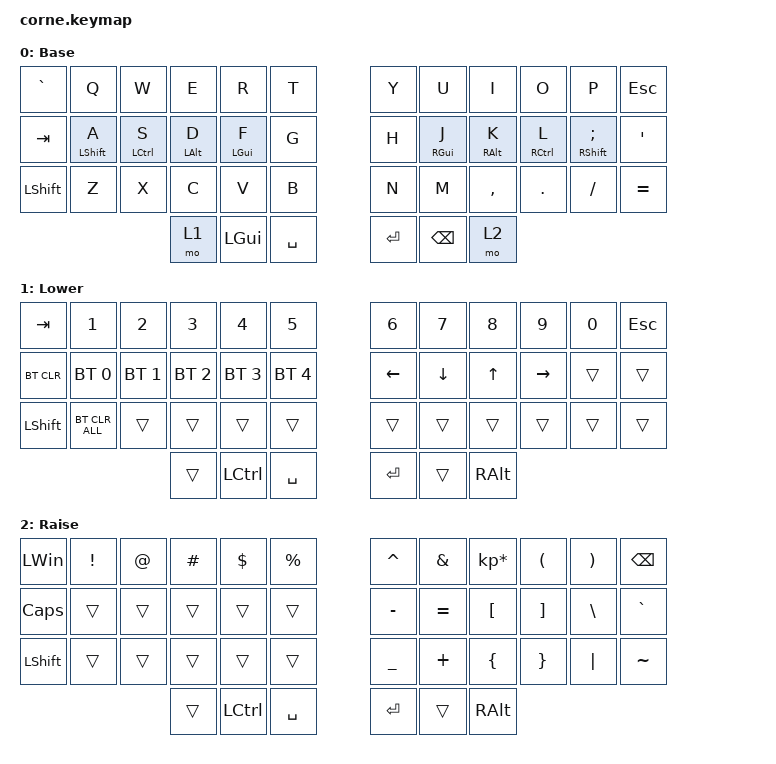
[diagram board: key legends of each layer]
/*
 * Copyright (c) 2020 The ZMK Contributors
 *
 * SPDX-License-Identifier: MIT
 */

#include <behaviors.dtsi>
#include <dt-bindings/zmk/bt.h>
#include <dt-bindings/zmk/keys.h>

/ {
    keymap {
        compatible = "zmk,keymap";

        default_layer {
            // -----------------------------------------------------------------------------------------
            // |  TAB |  Q  |  W  |  E  |  R  |  T  |   |  Y  |  U   |  I  |  O  |  P  | BKSP |
            // | CTRL |  A  |  S  |  D  |  F  |  G  |   |  H  |  J   |  K  |  L  |  ;  |  '   |
            // | SHFT |  Z  |  X  |  C  |  V  |  B  |   |  N  |  M   |  ,  |  .  |  /  | ESC  |
            //                    | GUI | LWR | SPC |   | ENT | RSE  | ALT |

            display-name = "Base";
            bindings = <
&kp GRAVE  &kp Q             &kp W        &kp E           &kp R           &kp T        &kp Y      &kp U            &kp I            &kp O        &kp P                 &kp ESC
&kp TAB    &mt LEFT_SHIFT A  &mt LCTRL S  &mt LEFT_ALT D  &mt LEFT_GUI F  &kp G        &kp H      &mt RIGHT_GUI J  &mt RIGHT_ALT K  &mt RCTRL L  &mt RIGHT_SHIFT SEMI  &kp SQT
&kp LSHFT  &kp Z             &kp X        &kp C           &kp V           &kp B        &kp N      &kp M            &kp COMMA        &kp DOT      &kp FSLH              &kp EQUAL
                                          &mo 1           &kp LEFT_GUI    &kp SPACE    &kp ENTER  &kp BACKSPACE    &mo 2
            >;
        };

        lower_layer {
            // -----------------------------------------------------------------------------------------
            // |  TAB |  1  |  2  |  3  |  4  |  5  |   |  6  |  7  |  8  |  9  |  0  | BKSP |
            // | BTCLR| BT1 | BT2 | BT3 | BT4 | BT5 |   | LFT | DWN |  UP | RGT |     |      |
            // | SHFT |     |     |     |     |     |   |     |     |     |     |     |      |
            //                    | GUI |     | SPC |   | ENT |     | ALT |

            display-name = "Lower";
            bindings = <
&kp TAB     &kp N1          &kp N2        &kp N3        &kp N4        &kp N5          &kp N6    &kp N7    &kp N8    &kp N9     &kp N0  &kp ESCAPE
&bt BT_CLR  &bt BT_SEL 0    &bt BT_SEL 1  &bt BT_SEL 2  &bt BT_SEL 3  &bt BT_SEL 4    &kp LEFT  &kp DOWN  &kp UP    &kp RIGHT  &trans  &trans
&kp LSHFT   &bt BT_CLR_ALL  &trans        &trans        &trans        &trans          &trans    &trans    &trans    &trans     &trans  &trans
                                          &trans        &kp LCTRL     &kp SPACE       &kp RET   &trans    &kp RALT
            >;
        };

        raise_layer {
            // -----------------------------------------------------------------------------------------
            // |  TAB |  !  |  @  |  #  |  $  |  %  |   |  ^  |  &  |  *  |  (  |  )  | BKSP |
            // | CTRL |     |     |     |     |     |   |  -  |  =  |  [  |  ]  |  \  |  `   |
            // | SHFT |     |     |     |     |     |   |  _  |  +  |  {  |  }  | "|" |  ~   |
            //                    | GUI |     | SPC |   | ENT |     | ALT |

            display-name = "Raise";
            bindings = <
&kp LEFT_WIN  &kp EXCL  &kp AT  &kp HASH  &kp DLLR   &kp PRCNT    &kp CARET  &kp AMPS   &kp KP_MULTIPLY  &kp LPAR  &kp RPAR  &kp BSPC
&kp CAPSLOCK  &trans    &trans  &trans    &trans     &trans       &kp MINUS  &kp EQUAL  &kp LBKT         &kp RBKT  &kp BSLH  &kp GRAVE
&kp LSHFT     &trans    &trans  &trans    &trans     &trans       &kp UNDER  &kp PLUS   &kp LBRC         &kp RBRC  &kp PIPE  &kp TILDE
                                &trans    &kp LCTRL  &kp SPACE    &kp RET    &trans     &kp RALT
            >;
        };
    };
};
